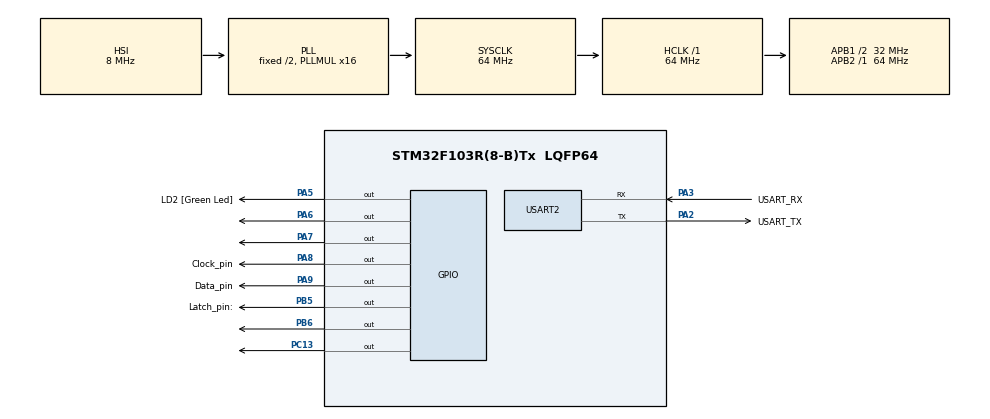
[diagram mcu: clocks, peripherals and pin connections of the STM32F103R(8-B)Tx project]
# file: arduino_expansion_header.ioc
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Mcu.Family=STM32F1
Mcu.Name=STM32F103R(8-B)Tx
Mcu.Package=LQFP64
NVIC.PriorityGroup=NVIC_PRIORITYGROUP_4
PA13.GPIO_Label=TMS
PA13.Mode=Serial_Wire
PA13.Signal=SYS_JTMS-SWDIO
PA14.GPIO_Label=TCK
PA14.Mode=Serial_Wire
PA14.Signal=SYS_JTCK-SWCLK
PA2.GPIO_Label=USART_TX
PA2.GPIO_Mode=GPIO_MODE_AF_PP
PA2.GPIO_PuPd=GPIO_NOPULL
PA2.GPIO_Speed=GPIO_SPEED_FREQ_LOW
PA2.Mode=Asynchronous
PA2.Signal=USART2_TX
PA3.GPIO_Label=USART_RX
PA3.GPIO_Mode=GPIO_MODE_AF_PP
PA3.GPIO_PuPd=GPIO_NOPULL
PA3.GPIO_Speed=GPIO_SPEED_FREQ_LOW
PA3.Mode=Asynchronous
PA3.Signal=USART2_RX
PA5.GPIO_Label=LD2 [Green Led]
PA5.GPIO_ModeDefaultOutputPP=GPIO_MODE_OUTPUT_PP
PA5.GPIO_PuPd=GPIO_NOPULL
PA5.GPIO_Speed=GPIO_SPEED_FREQ_LOW
PA5.Signal=GPIO_Output
PA6.PinState=GPIO_PIN_SET
PA6.Signal=GPIO_Output
PA7.Signal=GPIO_Output
PA8.GPIO_Label=Clock_pin
PA8.Signal=GPIO_Output
PA9.GPIO_Label=Data_pin
PA9.Signal=GPIO_Output
PB3.GPIO_Label=SWO
PB3.Signal=SYS_JTDO-TRACESWO
PB5.GPIO_Label=Latch_pin\:
PB5.Signal=GPIO_Output
PB6.Signal=GPIO_Output
PC13-TAMPER-RTC.Signal=GPIO_Output
PC14-OSC32_IN.Mode=LSE-External-Oscillator
PC14-OSC32_IN.Signal=RCC_OSC32_IN
PC15-OSC32_OUT.Mode=LSE-External-Oscillator
PC15-OSC32_OUT.Signal=RCC_OSC32_OUT
PD0-OSC_IN.Mode=HSE-External-Clock-Source
PD0-OSC_IN.Signal=RCC_OSC_IN
PD1-OSC_OUT.Mode=HSE-External-Clock-Source
PD1-OSC_OUT.Signal=RCC_OSC_OUT
ProjectManager.HeapSize=0x200
ProjectManager.StackSize=0x400
ProjectManager.TargetToolchain=STM32CubeIDE
RCC.AHBFreq_Value=64000000
RCC.APB1CLKDivider=RCC_HCLK_DIV2
RCC.APB1Freq_Value=32000000
RCC.APB1TimFreq_Value=64000000
RCC.APB2Freq_Value=64000000
RCC.APB2TimFreq_Value=64000000
RCC.HCLKFreq_Value=64000000
RCC.PLLMUL=RCC_PLL_MUL16
RCC.RTCClockSelection=RCC_RTCCLKSOURCE_LSE
RCC.SYSCLKFreq_VALUE=64000000
RCC.SYSCLKSource=RCC_SYSCLKSOURCE_PLLCLK
RCC.USBFreq_Value=64000000
USART2.VirtualMode=VM_ASYNC
board=NUCLEO-F103RB

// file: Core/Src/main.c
/* USER CODE BEGIN Header */
/**
  ******************************************************************************
  * @file           : main.c
  * @brief          : Main program body
  ******************************************************************************
  * @attention
  *
  * Copyright (c) 2024 STMicroelectronics.
  * All rights reserved.
  *
  * This software is licensed under terms that can be found in the LICENSE file
  * in the root directory of this software component.
  * If no LICENSE file comes with this software, it is provided AS-IS.
  *
  ******************************************************************************
  */
/* USER CODE END Header */
#include "main.h"
#include "usart.h"
#include "gpio.h"

/* USER CODE BEGIN Includes */
const uint8_t SEGMENT_MAP[] = {0xC0,0xF9,0xA4,0xB0,0x99,0x92,0x82,0xF8,0X80,0X90};
const uint8_t SEGMENT_SELECT[] = {0xF1,0xF2,0xF4,0xF8};
/* USER CODE END Includes */

void SystemClock_Config(void);

/* USER CODE BEGIN 0 */
void clock_signal(void)
{
	HAL_GPIO_WritePin(Clock_pin_GPIO_Port, Clock_pin_Pin, GPIO_PIN_SET);
	HAL_Delay(1);
	HAL_GPIO_WritePin(Clock_pin_GPIO_Port, Clock_pin_Pin, GPIO_PIN_RESET);
	HAL_Delay(1);
}
void latch_enable(void)
{
	HAL_GPIO_WritePin(Latch_pin__GPIO_Port, Latch_pin__Pin, GPIO_PIN_SET);
    HAL_Delay(1);
    HAL_GPIO_WritePin(Latch_pin__GPIO_Port, Latch_pin__Pin, GPIO_PIN_RESET);
}

void shift_out(unsigned int data_out)
{
	// the output of shift registers are arranged like below
	// 1234 xxxx abcd efgh
	// thus we have to right shift our bits with MSB first
    int i;
    GPIO_PinState state;
    for (i=7 ; i>=0 ; i--)
    {
    	state = (data_out >> i) & (0x01);
    	HAL_GPIO_WritePin(Data_pin_GPIO_Port, Data_pin_Pin, state);
        clock_signal();
    }
}
void write_number_to_segment(uint8_t segment, uint8_t value)
{
	shift_out(SEGMENT_MAP[value]);
	shift_out(SEGMENT_SELECT[segment]);
	latch_enable();// Data finally submitted
}
/* USER CODE END 0 */

int main(void)
{

  /* MCU Configuration--------------------------------------------------------*/

  /* Reset of all peripherals, Initializes the Flash interface and the Systick. */
  HAL_Init();

  /* Configure the system clock */
  SystemClock_Config();

  /* Initialize all configured peripherals */
  MX_GPIO_Init();
  MX_USART2_UART_Init();

  /* Infinite loop */
  /* USER CODE BEGIN WHILE */
  // Shift register (74HC595D) is used to set the 7 segment LEDs
  // Latch (12) Connected to D4/PB5
  // Clock (11) Connected to D7/PA8
  // Data (14) Connected to D8/PA9

while(1)
{
	for(int i = 0; i< 10; i++)
	{
		write_number_to_segment(0, i);
		write_number_to_segment(1, i);
		write_number_to_segment(2, i);
		write_number_to_segment(3, i);
		HAL_Delay(1000);
	}

    /* USER CODE END WHILE */

  }
}

void SystemClock_Config(void)
{
  RCC_OscInitTypeDef RCC_OscInitStruct = {0};
  RCC_ClkInitTypeDef RCC_ClkInitStruct = {0};

  /** Initializes the RCC Oscillators according to the specified parameters
  * in the RCC_OscInitTypeDef structure.
  */
  RCC_OscInitStruct.OscillatorType = RCC_OSCILLATORTYPE_HSI;
  RCC_OscInitStruct.HSIState = RCC_HSI_ON;
  RCC_OscInitStruct.HSICalibrationValue = RCC_HSICALIBRATION_DEFAULT;
  RCC_OscInitStruct.PLL.PLLState = RCC_PLL_ON;
  RCC_OscInitStruct.PLL.PLLSource = RCC_PLLSOURCE_HSI_DIV2;
  RCC_OscInitStruct.PLL.PLLMUL = RCC_PLL_MUL16;
  if (HAL_RCC_OscConfig(&RCC_OscInitStruct) != HAL_OK)
  {
    Error_Handler();
  }

  /** Initializes the CPU, AHB and APB buses clocks
  */
  RCC_ClkInitStruct.ClockType = RCC_CLOCKTYPE_HCLK|RCC_CLOCKTYPE_SYSCLK
                              |RCC_CLOCKTYPE_PCLK1|RCC_CLOCKTYPE_PCLK2;
  RCC_ClkInitStruct.SYSCLKSource = RCC_SYSCLKSOURCE_PLLCLK;
  RCC_ClkInitStruct.AHBCLKDivider = RCC_SYSCLK_DIV1;
  RCC_ClkInitStruct.APB1CLKDivider = RCC_HCLK_DIV2;
  RCC_ClkInitStruct.APB2CLKDivider = RCC_HCLK_DIV1;

  if (HAL_RCC_ClockConfig(&RCC_ClkInitStruct, FLASH_LATENCY_2) != HAL_OK)
  {
    Error_Handler();
  }
}

void Error_Handler(void)
{
  __disable_irq();
  while (1)
  {
  }
}
